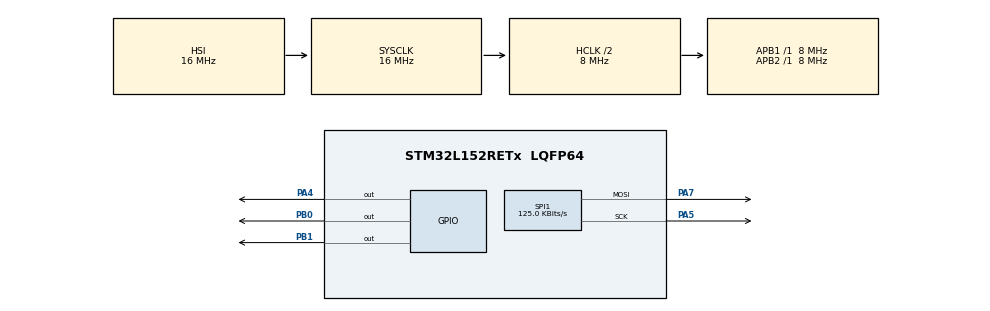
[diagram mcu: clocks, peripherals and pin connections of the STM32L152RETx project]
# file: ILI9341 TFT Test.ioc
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Mcu.Family=STM32L1
Mcu.Name=STM32L152RETx
Mcu.Package=LQFP64
<<<<<<< HEAD
=======
>>>>>>> c4f9c3215e11aefed8f37feac314fac4b0e6ce0f
NVIC.PriorityGroup=NVIC_PRIORITYGROUP_4
PA4.Signal=GPIO_Output
PA5.Mode=TX_Only_Simplex_Unidirect_Master
PA5.Signal=SPI1_SCK
<<<<<<< HEAD
PA6.Signal=SPI1_MISO
=======
>>>>>>> c4f9c3215e11aefed8f37feac314fac4b0e6ce0f
PA7.Mode=TX_Only_Simplex_Unidirect_Master
PA7.Signal=SPI1_MOSI
PB0.Signal=GPIO_Output
PB1.Signal=GPIO_Output
ProjectManager.HeapSize=0x200
ProjectManager.StackSize=0x400
ProjectManager.TargetToolchain=STM32CubeIDE
<<<<<<< HEAD
=======
>>>>>>> c4f9c3215e11aefed8f37feac314fac4b0e6ce0f
RCC.AHBCLKDivider=RCC_SYSCLK_DIV2
RCC.AHBFreq_Value=8000000
RCC.APB1Freq_Value=8000000
RCC.APB1TimFreq_Value=8000000
RCC.APB2Freq_Value=8000000
RCC.APB2TimFreq_Value=8000000
RCC.HCLKFreq_Value=8000000
RCC.HSE_VALUE=24000000
RCC.HSI_VALUE=16000000
RCC.LSE_VALUE=32768
RCC.MSI_VALUE=2097000
RCC.SYSCLKFreq_VALUE=16000000
RCC.SYSCLKSource=RCC_SYSCLKSOURCE_HSI
RCC.VCOOutputFreq_Value=48000000
SPI1.BaudRatePrescaler=SPI_BAUDRATEPRESCALER_64
SPI1.CalculateBaudRate=125.0 KBits/s
SPI1.Direction=SPI_DIRECTION_2LINES
SPI1.Mode=SPI_MODE_MASTER
SPI1.VirtualType=VM_MASTER
board=custom

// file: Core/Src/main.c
/* USER CODE BEGIN Header */
/**
  ******************************************************************************
  * @file           : main.c
  * @brief          : Main program body
  ******************************************************************************
  * @attention
  *
  * Copyright (c) 2025 STMicroelectronics.
  * All rights reserved.
  *
  * This software is licensed under terms that can be found in the LICENSE file
  * in the root directory of this software component.
  * If no LICENSE file comes with this software, it is provided AS-IS.
  *
  ******************************************************************************
  */
/* USER CODE END Header */
#include "main.h"

/* USER CODE BEGIN Includes */

#include <string.h>
#include <stdarg.h>
#include <ili9341.h>
#include <ili9341_touch.h>
#include <font.h>

/* USER CODE END Includes */

SPI_HandleTypeDef hspi1;

void SystemClock_Config(void);
static void MX_GPIO_Init(void);
static void MX_SPI1_Init(void);

/* USER CODE BEGIN 0 */

void init(){
	ILI9341_Unselect();
	ILI9341_TouchUnselect();
	ILI9341_Init();
}

void loop(){
	//Check Border
	ILI9341_FillScreen(ILI9341_BLACK);

	for(int x = 0; x < ILI9341_WIDTH; x++){
		ILI9341_DrawPixel(x,  0, ILI9341_RED);
		ILI9341_DrawPixel(x, ILI9341_HEIGHT - 1, ILI9341_RED);
	}

	for(int y = 0; y < ILI9341_HEIGHT; y++){
		ILI9341_DrawPixel(0,  y, ILI9341_RED);
		ILI9341_DrawPixel(ILI9341_WIDTH - 1, y, ILI9341_RED);
	}

	//Text Testing
	//	ILI9341_WriteString(0, ,"", Font_, ILI9341_, ILI9341_BLACK);

	HAL_Delay(1000);
	ILI9341_WriteString(0, 3*10, "HELLO WORLD!!!!", Font_11x18, ILI9341_GREEN, ILI9341_BLACK);
	ILI9341_WriteString(0, 6*10, "THIS IS A TEST FOR", Font_11x18, ILI9341_GREEN, ILI9341_BLACK);
	ILI9341_WriteString(0, 9*10, "THE NEW TFT DISPLAY", Font_11x18, ILI9341_GREEN, ILI9341_BLACK);
	ILI9341_WriteString(0, 12*10,"I HOPE IT WORKS!!", Font_16x26, ILI9341_RED, ILI9341_BLACK);
	HAL_Delay(4000);

	//Check the fonts
	ILI9341_FillScreen(ILI9341_BLACK);
	ILI9341_WriteString(0, 0,"Font_7x10 HELLO", Font_7x10, ILI9341_RED, ILI9341_BLACK);
	ILI9341_WriteString(0, 3*10,"Font_11x18 HELLO", Font_11x18, ILI9341_BLUE, ILI9341_BLACK);
	ILI9341_WriteString(0, 3*10+3*18,"Font_16x26 HELLO", Font_16x26, ILI9341_GREEN, ILI9341_BLACK);

	//inverting the displayed colors
	HAL_Delay(1000);
	ILI9341_InvertColors(true);
	HAL_Delay(1000);
	ILI9341_InvertColors(false);

	HAL_Delay(5000);

	//Check Colors
	ILI9341_FillScreen(ILI9341_WHITE);
	ILI9341_WriteString(0,0, "", Font_11x18, ILI9341_BLACK, ILI9341_WHITE);
	HAL_Delay(500);

	ILI9341_FillScreen(ILI9341_BLUE);
	ILI9341_WriteString(0,0, "BLUE", Font_11x18, ILI9341_BLACK, ILI9341_BLUE);
	HAL_Delay(500);

	ILI9341_FillScreen(ILI9341_RED);
	ILI9341_WriteString(0,0, "RED", Font_11x18, ILI9341_BLACK, ILI9341_RED);
	HAL_Delay(500);

	ILI9341_FillScreen(ILI9341_GREEN);
	ILI9341_WriteString(0,0, "GREEN", Font_11x18, ILI9341_BLACK, ILI9341_GREEN);
	HAL_Delay(500);

	ILI9341_FillScreen(ILI9341_CYAN);
	ILI9341_WriteString(0,0, "CYAN", Font_11x18, ILI9341_BLACK, ILI9341_CYAN);
	HAL_Delay(500);

	ILI9341_FillScreen(ILI9341_MAGENTA);
	ILI9341_WriteString(0,0, "MAGENTA", Font_11x18, ILI9341_BLACK, ILI9341_MAGENTA);
	HAL_Delay(500);

	ILI9341_FillScreen(ILI9341_YELLOW);
	ILI9341_WriteString(0,0, "YELLOW", Font_11x18, ILI9341_BLACK, ILI9341_YELLOW);
	HAL_Delay(500);

	ILI9341_FillScreen(ILI9341_BLACK);
	ILI9341_WriteString(0,0, "BLACK", Font_11x18, ILI9341_BLACK, ILI9341_WHITE);
	HAL_Delay(500);

}

/* USER CODE END 0 */

int main(void)
{

  /* MCU Configuration--------------------------------------------------------*/

  /* Reset of all peripherals, Initializes the Flash interface and the Systick. */
  HAL_Init();

  /* Configure the system clock */
  SystemClock_Config();

  /* Initialize all configured peripherals */
  MX_GPIO_Init();
  MX_SPI1_Init();
  /* USER CODE BEGIN 2 */

	init();

  /* USER CODE END 2 */

  /* Infinite loop */
  while (1)
  {

    /* USER CODE BEGIN 3 */

  	loop();

  }
  /* USER CODE END 3 */
}

void SystemClock_Config(void)
{
  RCC_OscInitTypeDef RCC_OscInitStruct = {0};
  RCC_ClkInitTypeDef RCC_ClkInitStruct = {0};

  /** Configure the main internal regulator output voltage
  */
  __HAL_PWR_VOLTAGESCALING_CONFIG(PWR_REGULATOR_VOLTAGE_SCALE1);

  /** Initializes the RCC Oscillators according to the specified parameters
  * in the RCC_OscInitTypeDef structure.
  */
  RCC_OscInitStruct.OscillatorType = RCC_OSCILLATORTYPE_HSI;
  RCC_OscInitStruct.HSIState = RCC_HSI_ON;
  RCC_OscInitStruct.HSICalibrationValue = RCC_HSICALIBRATION_DEFAULT;
  RCC_OscInitStruct.PLL.PLLState = RCC_PLL_NONE;
  if (HAL_RCC_OscConfig(&RCC_OscInitStruct) != HAL_OK)
  {
    Error_Handler();
  }

  /** Initializes the CPU, AHB and APB buses clocks
  */
  RCC_ClkInitStruct.ClockType = RCC_CLOCKTYPE_HCLK|RCC_CLOCKTYPE_SYSCLK
                              |RCC_CLOCKTYPE_PCLK1|RCC_CLOCKTYPE_PCLK2;
  RCC_ClkInitStruct.SYSCLKSource = RCC_SYSCLKSOURCE_HSI;
  RCC_ClkInitStruct.AHBCLKDivider = RCC_SYSCLK_DIV2;
  RCC_ClkInitStruct.APB1CLKDivider = RCC_HCLK_DIV1;
  RCC_ClkInitStruct.APB2CLKDivider = RCC_HCLK_DIV1;

  if (HAL_RCC_ClockConfig(&RCC_ClkInitStruct, FLASH_LATENCY_0) != HAL_OK)
  {
    Error_Handler();
  }
}

static void MX_SPI1_Init(void)
{

  /* SPI1 parameter configuration*/
  hspi1.Instance = SPI1;
  hspi1.Init.Mode = SPI_MODE_MASTER;
  hspi1.Init.Direction = SPI_DIRECTION_2LINES;
  hspi1.Init.DataSize = SPI_DATASIZE_8BIT;
  hspi1.Init.CLKPolarity = SPI_POLARITY_LOW;
  hspi1.Init.CLKPhase = SPI_PHASE_1EDGE;
  hspi1.Init.NSS = SPI_NSS_SOFT;
  hspi1.Init.BaudRatePrescaler = SPI_BAUDRATEPRESCALER_64;
  hspi1.Init.FirstBit = SPI_FIRSTBIT_MSB;
  hspi1.Init.TIMode = SPI_TIMODE_DISABLE;
  hspi1.Init.CRCCalculation = SPI_CRCCALCULATION_DISABLE;
  hspi1.Init.CRCPolynomial = 10;
  if (HAL_SPI_Init(&hspi1) != HAL_OK)
  {
    Error_Handler();
  }

}

static void MX_GPIO_Init(void)
{
  GPIO_InitTypeDef GPIO_InitStruct = {0};

  /* GPIO Ports Clock Enable */
  __HAL_RCC_GPIOA_CLK_ENABLE();
  __HAL_RCC_GPIOB_CLK_ENABLE();

  /*Configure GPIO pin Output Level */
  HAL_GPIO_WritePin(GPIOA, GPIO_PIN_4, GPIO_PIN_RESET);

  /*Configure GPIO pin Output Level */
  HAL_GPIO_WritePin(GPIOB, GPIO_PIN_0|GPIO_PIN_1, GPIO_PIN_RESET);

  /*Configure GPIO pin : PA4 */
  GPIO_InitStruct.Pin = GPIO_PIN_4;
  GPIO_InitStruct.Mode = GPIO_MODE_OUTPUT_PP;
  GPIO_InitStruct.Pull = GPIO_NOPULL;
  GPIO_InitStruct.Speed = GPIO_SPEED_FREQ_LOW;
  HAL_GPIO_Init(GPIOA, &GPIO_InitStruct);

  /*Configure GPIO pins : PB0 PB1 */
  GPIO_InitStruct.Pin = GPIO_PIN_0|GPIO_PIN_1;
  GPIO_InitStruct.Mode = GPIO_MODE_OUTPUT_PP;
  GPIO_InitStruct.Pull = GPIO_NOPULL;
  GPIO_InitStruct.Speed = GPIO_SPEED_FREQ_LOW;
  HAL_GPIO_Init(GPIOB, &GPIO_InitStruct);

}

void Error_Handler(void)
{
  __disable_irq();
  while (1)
  {
  }
}
